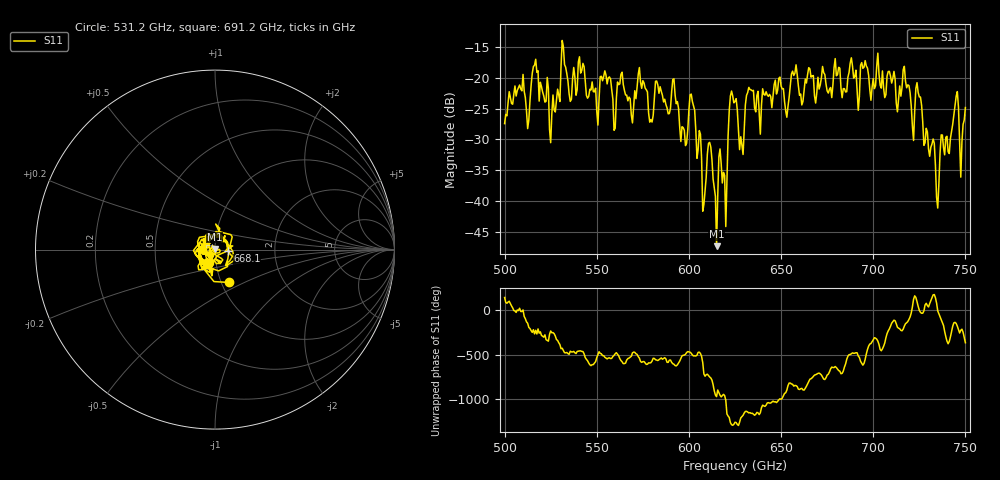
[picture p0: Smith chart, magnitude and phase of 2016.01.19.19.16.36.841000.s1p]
!Created with skrf (http://scikit-rf.org).
# GHz S RI R 50.0
!freq ReS11 ImS11
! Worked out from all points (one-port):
!   401 points, 500 GHz to 750 GHz, reference 50 ohm
!   lowest |S11| = -47.3 dB at 615 GHz (marker M1), VSWR 1.01, Z = 49.8 + j0.399 ohm
!   |S11| at or under -10 dB: start of sweep to end of sweep
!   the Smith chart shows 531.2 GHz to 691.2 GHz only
!   S11 on the Smith chart (normalised r, x): 531.2 GHz: 1.09, -0.42; 668.1 GHz: 1.15, -0.02; 691.2 GHz: 0.92, -0.13
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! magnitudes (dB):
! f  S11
! 500 GHz  -27.4
! 508.8 GHz  -21.8
! 512.5 GHz  -28.2
! 516.9 GHz  -17.0
! 525.6 GHz  -25.8
! 531.2 GHz  -14.0
! 559.4 GHz  -28.5
! 562.5 GHz  -21.0
! 593.8 GHz  -23.9
! 598.1 GHz  -31.0
! 601.9 GHz  -23.9
! 608.1 GHz  -40.5
! 611.2 GHz  -30.5
! 615 GHz  -47.3
! 619.4 GHz  -35.8
! 622.5 GHz  -23.0
! 625 GHz  -23.9
! 628.8 GHz  -30.9
! 632.5 GHz  -21.6
! 656.2 GHz  -19.0
! 668.1 GHz  -22.9
! 687.5 GHz  -17.7
! 691.2 GHz  -22.2
! 718.8 GHz  -21.2
! 735 GHz  -41.1
! 745 GHz  -23.0
! 748.1 GHz  -30.4
! 750 GHz  -24.9
